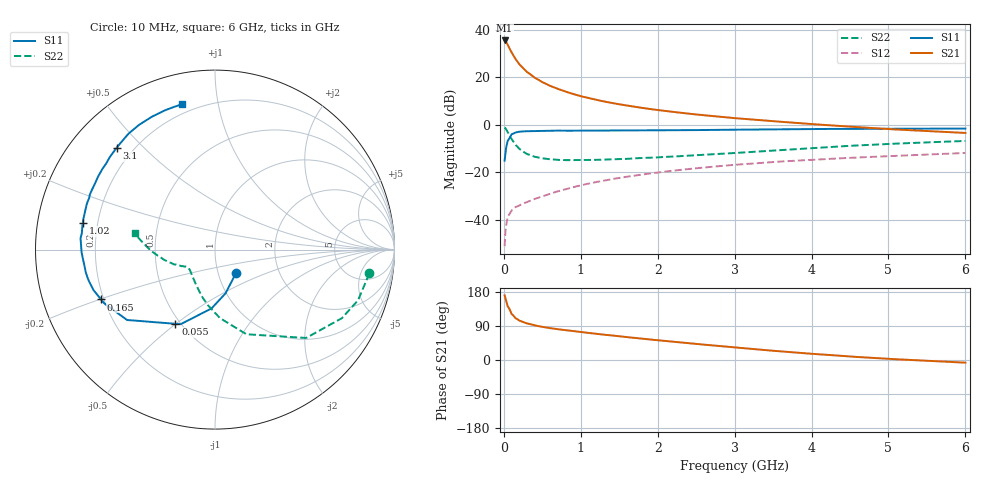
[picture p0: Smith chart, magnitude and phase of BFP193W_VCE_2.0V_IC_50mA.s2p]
! Infineon Technologies  Discrete & RF Semiconductors
! BFP193W
! VCE = 2.0 V,  IC =  50 mA
! Common Emitter S-Parameters:  Jan 2016
# GHz  S  MA  R  50
!  f  S11  S21  S12  S22
! GHz  MAG  ANG  MAG  ANG  MAG  ANG  MAG  ANG
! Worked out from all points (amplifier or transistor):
!   210 points, 10 MHz to 6 GHz, reference 50 ohm
!   highest |S21| = 35.4 dB at 10 MHz (marker M1)
!   |S21| within 3 dB of that: start of sweep to 68.71 MHz
!   unconditionally stable (mu >= 1): 500.8 MHz to 4.438 GHz
!   at 185 MHz: K = 0.59, MSG = 30.2 dB, |S12| = -34.2 dB
!   at 1.52 GHz: K = 1.16, MAG = 12.9 dB, |S12| = -22.2 dB
!   at 6 GHz: K = 0.96, MSG = 4.2 dB, |S12| = -11.9 dB
!   S11 on the Smith chart (normalised r, x): 10 MHz: 1.21, -0.33; 55 MHz: 0.47, -0.50; 165 MHz: 0.19, -0.20; 1.02 GHz: 0.14, +0.10; 3.1 GHz: 0.14, +0.42; 6 GHz: 0.15, +0.79
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0.01  0.1764 -49.0  59.07 170.6  0.0028 83.1  0.87 -8.8
0.02  0.2509 -76.5  57.41 162.9  0.0055 72.8  0.8456 -19.5
0.03  0.3284 -93.4  54.86 155.1  0.0077 70.9  0.8036 -28.4
0.05  0.4575 -114.7  47.88 141.9  0.0114 60.3  0.7072 -44.1
0.055  0.4687 -118.1  46.22 140.5  0.0118 58.6  0.6822 -45.9
0.1  0.6275 -141.3  33.12 121.7  0.0157 47.2  0.5029 -69.7
0.15  0.6862 -154.2  24.2 110.6  0.0185 44.0  0.3823 -85.9
0.165  0.6932 -156.4  22.55 109.0  0.0189 44.1  0.3603 -88.8
0.2  0.7134 -161.5  18.79 104.2  0.02 44.4  0.3133 -97.1
0.26  0.7265 -167.2  14.86 99.2  0.0224 47.2  0.2662 -106.6
0.3  0.7308 -170.0  12.86 96.5  0.0236 49.0  0.2429 -112.2
0.4  0.7368 -175.3  9.763 91.3  0.0275 52.7  0.2125 -122.0
0.5  0.7436 -178.9  7.868 87.4  0.0312 55.3  0.1972 -129.1
0.6  0.7463 177.9  6.573 84.1  0.0355 57.7  0.1879 -134.5
0.8  0.7475 173.0  4.964 78.6  0.0441 60.8  0.18 -140.8
1.02  0.7512 168.6  3.909 73.4  0.0542 62.6  0.1809 -145.5
1.4  0.7573 161.5  2.875 64.7  0.0716 62.9  0.1877 -149.5
2.02  0.7637 150.9  2.017 51.8  0.0999 60.7  0.2073 -153.5
3.1  0.7887 134.0  1.336 31.6  0.1475 53.1  0.2602 -163.8
4.1  0.8141 120.2  1.006 15.1  0.1868 45.3  0.3287 -175.2
5.1  0.8245 109.8  0.794 2.0  0.2221 38.1  0.4006 174.8
6  0.8301 102.8  0.672 -7.0  0.2545 32.2  0.456 168.5
